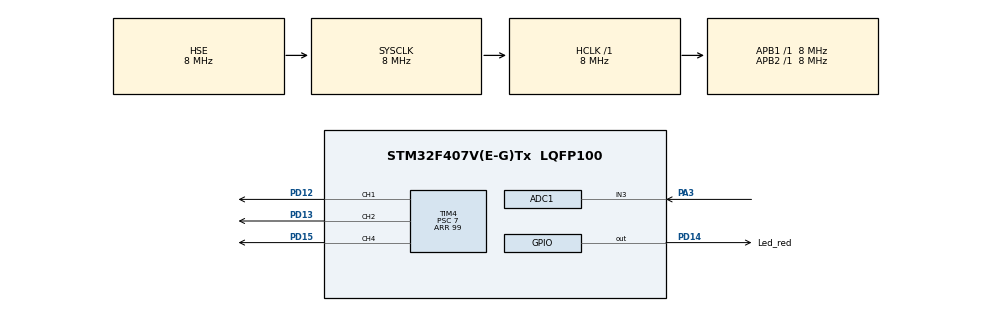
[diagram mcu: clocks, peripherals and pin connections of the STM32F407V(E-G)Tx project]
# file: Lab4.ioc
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ADC1.Channel-0\#ChannelRegularConversion=ADC_CHANNEL_3
ADC1.ClockPrescaler=ADC_CLOCK_SYNC_PCLK_DIV2
ADC1.ContinuousConvMode=ENABLE
ADC1.EnableAnalogWatchDog=false
ADC1.ExternalTrigConv=ADC_EXTERNALTRIGCONV_T2_TRGO
ADC1.NbrOfConversionFlag=1
ADC1.Rank-0\#ChannelRegularConversion=1
ADC1.SamplingTime-0\#ChannelRegularConversion=ADC_SAMPLETIME_480CYCLES
ADC1.master=1
Dma.ADC1.0.Direction=DMA_PERIPH_TO_MEMORY
Dma.ADC1.0.FIFOMode=DMA_FIFOMODE_DISABLE
Dma.ADC1.0.Instance=DMA2_Stream0
Dma.ADC1.0.MemDataAlignment=DMA_MDATAALIGN_HALFWORD
Dma.ADC1.0.MemInc=DMA_MINC_ENABLE
Dma.ADC1.0.Mode=DMA_NORMAL
Dma.ADC1.0.PeriphDataAlignment=DMA_PDATAALIGN_HALFWORD
Dma.ADC1.0.PeriphInc=DMA_PINC_DISABLE
Dma.ADC1.0.Priority=DMA_PRIORITY_LOW
Dma.Request0=ADC1
Mcu.Family=STM32F4
Mcu.Name=STM32F407V(E-G)Tx
Mcu.Package=LQFP100
NVIC.DMA2_Stream0_IRQn=true\:0\:0\:false\:false\:true\:false\:true
NVIC.PriorityGroup=NVIC_PRIORITYGROUP_4
NVIC.TIM3_IRQn=true\:0\:0\:false\:false\:true\:true\:true
PA3.Signal=ADCx_IN3
PD12.Signal=S_TIM4_CH1
PD13.GPIO_PuPd=GPIO_PULLDOWN
PD13.Signal=S_TIM4_CH2
PD14.GPIO_Label=Led_red
PD14.GPIO_PuPd=GPIO_PULLDOWN
PD14.Signal=GPIO_Output
PD15.GPIO_PuPd=GPIO_PULLDOWN
PD15.Signal=S_TIM4_CH4
PH0-OSC_IN.Mode=HSE-External-Oscillator
PH0-OSC_IN.Signal=RCC_OSC_IN
PH1-OSC_OUT.Mode=HSE-External-Oscillator
PH1-OSC_OUT.Signal=RCC_OSC_OUT
ProjectManager.HeapSize=0x200
ProjectManager.StackSize=0x400
ProjectManager.TargetToolchain=STM32CubeIDE
RCC.48MHZClocksFreq_Value=24000000
RCC.AHBFreq_Value=8000000
RCC.APB1Freq_Value=8000000
RCC.APB1TimFreq_Value=8000000
RCC.APB2Freq_Value=8000000
RCC.APB2TimFreq_Value=8000000
RCC.CortexFreq_Value=8000000
RCC.HCLKFreq_Value=8000000
RCC.HSE_VALUE=8000000
RCC.HSI_VALUE=16000000
RCC.LSE_VALUE=32768
RCC.PLLSourceVirtual=RCC_PLLSOURCE_HSE
RCC.SYSCLKFreq_VALUE=8000000
RCC.SYSCLKSource=RCC_SYSCLKSOURCE_HSE
RCC.VCOOutputFreq_Value=96000000
SH.ADCx_IN3.0=ADC1_IN3,IN3
SH.S_TIM4_CH1.0=TIM4_CH1,PWM Generation1 CH1
SH.S_TIM4_CH2.0=TIM4_CH2,PWM Generation2 CH2
SH.S_TIM4_CH4.0=TIM4_CH4,PWM Generation4 CH4
TIM2.Period=999
TIM2.Prescaler=7999
TIM2.TIM_MasterOutputTrigger=TIM_TRGO_UPDATE
TIM2.TIM_MasterSlaveMode=TIM_MASTERSLAVEMODE_ENABLE
TIM3.AutoReloadPreload=TIM_AUTORELOAD_PRELOAD_ENABLE
TIM3.Period=499
TIM3.Prescaler=7999
TIM4.Channel-PWM\ Generation1\ CH1=TIM_CHANNEL_1
TIM4.Channel-PWM\ Generation2\ CH2=TIM_CHANNEL_2
TIM4.Channel-PWM\ Generation4\ CH4=TIM_CHANNEL_4
TIM4.Period=99
TIM4.Prescaler=7
TIM4.Pulse-PWM\ Generation1\ CH1=50
TIM4.Pulse-PWM\ Generation2\ CH2=50
TIM4.Pulse-PWM\ Generation4\ CH4=50
VP_ADC1_TempSens_Input.Mode=IN-TempSens
VP_TIM2_VS_ClockSourceINT.Mode=Internal
VP_TIM3_VS_ClockSourceINT.Mode=Internal
VP_TIM4_VS_ClockSourceINT.Mode=Internal
board=custom

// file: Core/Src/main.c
/* USER CODE BEGIN Header */
/**
  ******************************************************************************
  * @file           : main.c
  * @brief          : Main program body
  ******************************************************************************
  * @attention
  *
  * <h2><center>&copy; Copyright (c) 2021 STMicroelectronics.
  * All rights reserved.</center></h2>
  *
  * This software component is licensed by ST under BSD 3-Clause license,
  * the "License"; You may not use this file except in compliance with the
  * License. You may obtain a copy of the License at:
  *                        opensource.org/licenses/BSD-3-Clause
  *
  ******************************************************************************
  */
/* USER CODE END Header */
#include "main.h"

/* USER CODE BEGIN PD */
#define ADC_BUF_SIZE 8    //ADC data maximum size
#define __VREFANALOG_VOLTAGE__ 3300
/* USER CODE END PD */

ADC_HandleTypeDef hadc1;
DMA_HandleTypeDef hdma_adc1;

TIM_HandleTypeDef htim2;
TIM_HandleTypeDef htim3;
TIM_HandleTypeDef htim4;

/* USER CODE BEGIN PV */
uint16_t ADC_buffer[ADC_BUF_SIZE];  //used to store tempature values
uint32_t adcValue = 0;
uint8_t flag=0;
uint8_t idx=0;

/* USER CODE END PV */

void SystemClock_Config(void);
static void MX_GPIO_Init(void);
static void MX_ADC1_Init(void);
static void MX_TIM4_Init(void);
static void MX_DMA_Init(void);
static void MX_TIM2_Init(void);
static void MX_TIM3_Init(void);

/* USER CODE BEGIN 0 */

uint32_t ccr_calc(uint32_t adc){      // pulse calculation (pulse depends on ADC value)
	uint32_t res=adc*0.024;          //y=k*x, k=4095/100=0.024, y=0.024*x
	return res;                     //res 0-100
}

/* USER CODE END 0 */

int main(void)
{

  /* MCU Configuration--------------------------------------------------------*/

  /* Reset of all peripherals, Initializes the Flash interface and the Systick. */
  HAL_Init();

  /* Configure the system clock */
  SystemClock_Config();

  /* Initialize all configured peripherals */
  MX_GPIO_Init();
  MX_ADC1_Init();         //used to change blue LED brightness
  MX_TIM4_Init();        //used for PWM
  MX_DMA_Init();        //used for Internal temperature sensor
  MX_TIM2_Init();      //used for DMA (1 Hz overflow)
  MX_TIM3_Init();     //used to toggle red led
  /* USER CODE BEGIN 2 */
                            //calibration of ADC, calibration is needed to remove the offset error, it should be run on the each power off of the application
  HAL_TIM_Base_Start_IT(&htim3);

  if (HAL_OK != HAL_ADC_Start_DMA(&hadc1, ADC_buffer, ADC_BUF_SIZE))
	  Error_Handler();

  if (HAL_OK != HAL_TIM_Base_Start(&htim2))
	  Error_Handler();

  /* USER CODE END 2 */

  /* Infinite loop */
  /* USER CODE BEGIN WHILE */

  volatile HAL_StatusTypeDef adcPoolResult;

  HAL_ADC_Start(&hadc1);

  while (1)
  {

	  if(1==flag){
		   for(idx=0;idx<ADC_BUF_SIZE;idx++){
			   ADC_buffer[idx] =  __LL_ADC_CALC_TEMPERATURE(__VREFANALOG_VOLTAGE__,ADC_buffer[idx],LL_ADC_RESOLUTION_12B);
		   }
		  flag=0;
	  }

	  adcPoolResult = HAL_ADC_PollForConversion(&hadc1, 1);

	  if(adcPoolResult == HAL_OK){
		  adcValue = HAL_ADC_GetValue(&hadc1);
	  }

	  HAL_TIM_PWM_Start(&htim4, TIM_CHANNEL_4);  //Blue LED
	  TIM4->CCR4=ccr_calc(adcValue);            // duty cycle change

    /* USER CODE END WHILE */

  }
}

void SystemClock_Config(void)
{
  RCC_OscInitTypeDef RCC_OscInitStruct = {0};
  RCC_ClkInitTypeDef RCC_ClkInitStruct = {0};

  /** Configure the main internal regulator output voltage
  */
  __HAL_RCC_PWR_CLK_ENABLE();
  __HAL_PWR_VOLTAGESCALING_CONFIG(PWR_REGULATOR_VOLTAGE_SCALE1);
  /** Initializes the RCC Oscillators according to the specified parameters
  * in the RCC_OscInitTypeDef structure.
  */
  RCC_OscInitStruct.OscillatorType = RCC_OSCILLATORTYPE_HSE;
  RCC_OscInitStruct.HSEState = RCC_HSE_ON;
  RCC_OscInitStruct.PLL.PLLState = RCC_PLL_NONE;
  if (HAL_RCC_OscConfig(&RCC_OscInitStruct) != HAL_OK)
  {
    Error_Handler();
  }
  /** Initializes the CPU, AHB and APB buses clocks
  */
  RCC_ClkInitStruct.ClockType = RCC_CLOCKTYPE_HCLK|RCC_CLOCKTYPE_SYSCLK
                              |RCC_CLOCKTYPE_PCLK1|RCC_CLOCKTYPE_PCLK2;
  RCC_ClkInitStruct.SYSCLKSource = RCC_SYSCLKSOURCE_HSE;
  RCC_ClkInitStruct.AHBCLKDivider = RCC_SYSCLK_DIV1;
  RCC_ClkInitStruct.APB1CLKDivider = RCC_HCLK_DIV1;
  RCC_ClkInitStruct.APB2CLKDivider = RCC_HCLK_DIV1;

  if (HAL_RCC_ClockConfig(&RCC_ClkInitStruct, FLASH_LATENCY_0) != HAL_OK)
  {
    Error_Handler();
  }
}

static void MX_ADC1_Init(void)
{

  ADC_ChannelConfTypeDef sConfig = {0};

  /** Configure the global features of the ADC (Clock, Resolution, Data Alignment and number of conversion)
  */
  hadc1.Instance = ADC1;
  hadc1.Init.ClockPrescaler = ADC_CLOCK_SYNC_PCLK_DIV2;
  hadc1.Init.Resolution = ADC_RESOLUTION_12B;
  hadc1.Init.ScanConvMode = DISABLE;
  hadc1.Init.ContinuousConvMode = ENABLE;
  hadc1.Init.DiscontinuousConvMode = DISABLE;
  hadc1.Init.ExternalTrigConvEdge = ADC_EXTERNALTRIGCONVEDGE_RISING;
  hadc1.Init.ExternalTrigConv = ADC_EXTERNALTRIGCONV_T2_TRGO;
  hadc1.Init.DataAlign = ADC_DATAALIGN_RIGHT;
  hadc1.Init.NbrOfConversion = 1;
  hadc1.Init.DMAContinuousRequests = DISABLE;
  hadc1.Init.EOCSelection = ADC_EOC_SINGLE_CONV;
  if (HAL_ADC_Init(&hadc1) != HAL_OK)
  {
    Error_Handler();
  }
  /** Configure for the selected ADC regular channel its corresponding rank in the sequencer and its sample time.
  */
  sConfig.Channel = ADC_CHANNEL_3;
  sConfig.Rank = 1;
  sConfig.SamplingTime = ADC_SAMPLETIME_480CYCLES;
  if (HAL_ADC_ConfigChannel(&hadc1, &sConfig) != HAL_OK)
  {
    Error_Handler();
  }

}

static void MX_TIM2_Init(void)
{

  TIM_ClockConfigTypeDef sClockSourceConfig = {0};
  TIM_MasterConfigTypeDef sMasterConfig = {0};

  htim2.Instance = TIM2;
  htim2.Init.Prescaler = 7999;
  htim2.Init.CounterMode = TIM_COUNTERMODE_UP;
  htim2.Init.Period = 999;
  htim2.Init.ClockDivision = TIM_CLOCKDIVISION_DIV1;
  htim2.Init.AutoReloadPreload = TIM_AUTORELOAD_PRELOAD_DISABLE;
  if (HAL_TIM_Base_Init(&htim2) != HAL_OK)
  {
    Error_Handler();
  }
  sClockSourceConfig.ClockSource = TIM_CLOCKSOURCE_INTERNAL;
  if (HAL_TIM_ConfigClockSource(&htim2, &sClockSourceConfig) != HAL_OK)
  {
    Error_Handler();
  }
  sMasterConfig.MasterOutputTrigger = TIM_TRGO_UPDATE;
  sMasterConfig.MasterSlaveMode = TIM_MASTERSLAVEMODE_ENABLE;
  if (HAL_TIMEx_MasterConfigSynchronization(&htim2, &sMasterConfig) != HAL_OK)
  {
    Error_Handler();
  }

}

static void MX_TIM3_Init(void)
{

  TIM_ClockConfigTypeDef sClockSourceConfig = {0};
  TIM_MasterConfigTypeDef sMasterConfig = {0};

  htim3.Instance = TIM3;
  htim3.Init.Prescaler = 7999;
  htim3.Init.CounterMode = TIM_COUNTERMODE_UP;
  htim3.Init.Period = 499;
  htim3.Init.ClockDivision = TIM_CLOCKDIVISION_DIV1;
  htim3.Init.AutoReloadPreload = TIM_AUTORELOAD_PRELOAD_ENABLE;
  if (HAL_TIM_Base_Init(&htim3) != HAL_OK)
  {
    Error_Handler();
  }
  sClockSourceConfig.ClockSource = TIM_CLOCKSOURCE_INTERNAL;
  if (HAL_TIM_ConfigClockSource(&htim3, &sClockSourceConfig) != HAL_OK)
  {
    Error_Handler();
  }
  sMasterConfig.MasterOutputTrigger = TIM_TRGO_RESET;
  sMasterConfig.MasterSlaveMode = TIM_MASTERSLAVEMODE_DISABLE;
  if (HAL_TIMEx_MasterConfigSynchronization(&htim3, &sMasterConfig) != HAL_OK)
  {
    Error_Handler();
  }

}

static void MX_TIM4_Init(void)
{

  TIM_ClockConfigTypeDef sClockSourceConfig = {0};
  TIM_MasterConfigTypeDef sMasterConfig = {0};
  TIM_OC_InitTypeDef sConfigOC = {0};

  htim4.Instance = TIM4;
  htim4.Init.Prescaler = 7;
  htim4.Init.CounterMode = TIM_COUNTERMODE_UP;
  htim4.Init.Period = 99;
  htim4.Init.ClockDivision = TIM_CLOCKDIVISION_DIV1;
  htim4.Init.AutoReloadPreload = TIM_AUTORELOAD_PRELOAD_DISABLE;
  if (HAL_TIM_Base_Init(&htim4) != HAL_OK)
  {
    Error_Handler();
  }
  sClockSourceConfig.ClockSource = TIM_CLOCKSOURCE_INTERNAL;
  if (HAL_TIM_ConfigClockSource(&htim4, &sClockSourceConfig) != HAL_OK)
  {
    Error_Handler();
  }
  if (HAL_TIM_PWM_Init(&htim4) != HAL_OK)
  {
    Error_Handler();
  }
  sMasterConfig.MasterOutputTrigger = TIM_TRGO_RESET;
  sMasterConfig.MasterSlaveMode = TIM_MASTERSLAVEMODE_DISABLE;
  if (HAL_TIMEx_MasterConfigSynchronization(&htim4, &sMasterConfig) != HAL_OK)
  {
    Error_Handler();
  }
  sConfigOC.OCMode = TIM_OCMODE_PWM1;
  sConfigOC.Pulse = 50;
  sConfigOC.OCPolarity = TIM_OCPOLARITY_HIGH;
  sConfigOC.OCFastMode = TIM_OCFAST_DISABLE;
  if (HAL_TIM_PWM_ConfigChannel(&htim4, &sConfigOC, TIM_CHANNEL_1) != HAL_OK)
  {
    Error_Handler();
  }
  if (HAL_TIM_PWM_ConfigChannel(&htim4, &sConfigOC, TIM_CHANNEL_2) != HAL_OK)
  {
    Error_Handler();
  }
  if (HAL_TIM_PWM_ConfigChannel(&htim4, &sConfigOC, TIM_CHANNEL_4) != HAL_OK)
  {
    Error_Handler();
  }
  HAL_TIM_MspPostInit(&htim4);

}

static void MX_DMA_Init(void)
{

  /* DMA controller clock enable */
  __HAL_RCC_DMA2_CLK_ENABLE();

  /* DMA interrupt init */
  /* DMA2_Stream0_IRQn interrupt configuration */
  HAL_NVIC_SetPriority(DMA2_Stream0_IRQn, 0, 0);
  HAL_NVIC_EnableIRQ(DMA2_Stream0_IRQn);

}

static void MX_GPIO_Init(void)
{
  GPIO_InitTypeDef GPIO_InitStruct = {0};

  /* GPIO Ports Clock Enable */
  __HAL_RCC_GPIOH_CLK_ENABLE();
  __HAL_RCC_GPIOA_CLK_ENABLE();
  __HAL_RCC_GPIOD_CLK_ENABLE();

  /*Configure GPIO pin Output Level */
  HAL_GPIO_WritePin(Led_red_GPIO_Port, Led_red_Pin, GPIO_PIN_RESET);

  /*Configure GPIO pin : Led_red_Pin */
  GPIO_InitStruct.Pin = Led_red_Pin;
  GPIO_InitStruct.Mode = GPIO_MODE_OUTPUT_PP;
  GPIO_InitStruct.Pull = GPIO_PULLDOWN;
  GPIO_InitStruct.Speed = GPIO_SPEED_FREQ_LOW;
  HAL_GPIO_Init(Led_red_GPIO_Port, &GPIO_InitStruct);

}

/* USER CODE BEGIN 4 */
void HAL_ADC_ConvCpltCallback(ADC_HandleTypeDef* hadc){

	if(HAL_ADC_Stop_DMA(&hadc1) != HAL_OK)
		Error_Handler();
	flag=1;
}
/* USER CODE END 4 */

void Error_Handler(void)
{
  __disable_irq();
  while (1)
  {
  }
}

/************************ (C) COPYRIGHT STMicroelectronics *****END OF FILE****/
